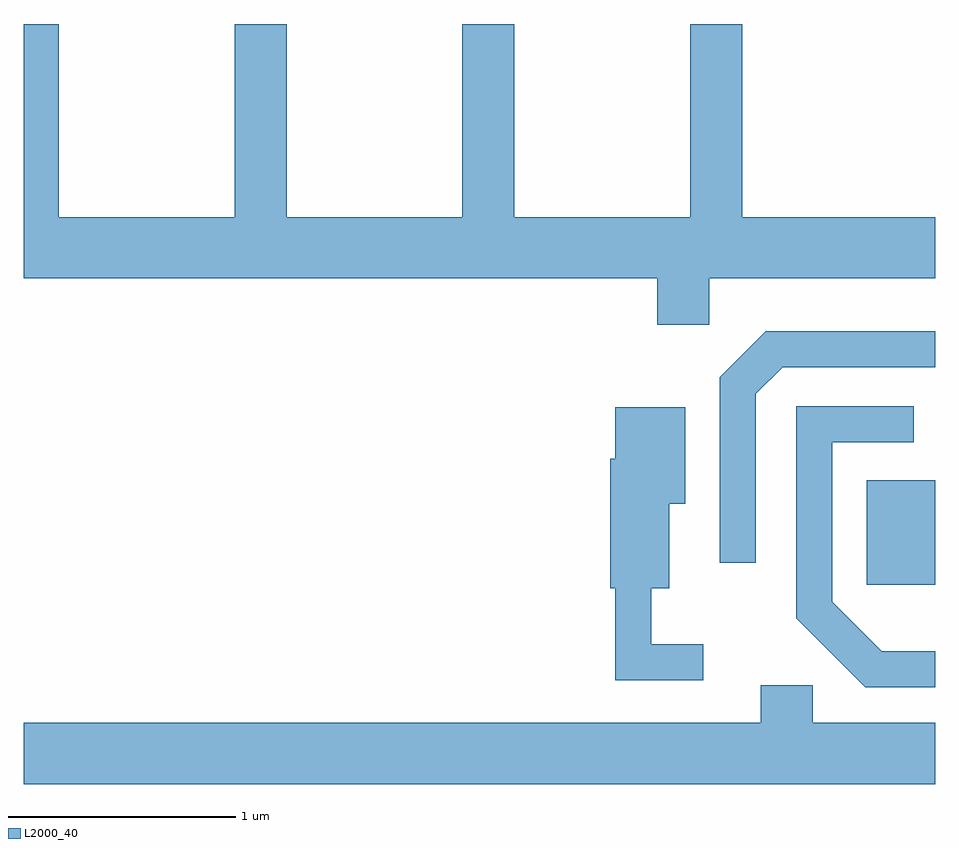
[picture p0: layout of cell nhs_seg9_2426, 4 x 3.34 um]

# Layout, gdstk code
import gdstk
lib = gdstk.Library(unit=1e-6, precision=1e-09)
def R(c, l, rs):  # rectangles x0, y0, x1, y1
    for r in rs: c.add(gdstk.rectangle(r[:2], r[2:], *l))
def P(c, l, *ps):  # polygons
    for p in ps: c.add(gdstk.Polygon(p, *l))
L2000_40 = (2000, 40)

nhs_seg9_2426 = lib.new_cell('nhs_seg9_2426')
R(nhs_seg9_2426, L2000_40, [(259.311,2045.971,259.611,2046.429)])
P(nhs_seg9_2426, L2000_40, [(258.619,2047.316),(259.611,2047.316),(259.611,2047.584),(258.764,2047.584),(258.764,2048.432),(258.536,2048.432),(258.536,2047.584),(257.764,2047.584),(257.764,2048.432),(257.536,2048.432),(257.536,2047.584),(256.764,2047.584),(256.764,2048.432),(256.536,2048.432),(256.536,2047.584),(255.764,2047.584),(255.764,2048.432),(255.611,2048.432),(255.611,2047.316),(258.391,2047.316),(258.391,2047.111),(258.619,2047.111)],
  [(258.824,2046.809),(258.942,2046.926),(259.611,2046.926),(259.611,2047.084),(258.868,2047.084),(258.666,2046.882),(258.666,2046.068),(258.824,2046.068)],
  [(259.611,2045.679),(259.377,2045.679),(259.159,2045.897),(259.159,2046.596),(259.517,2046.596),(259.517,2046.754),(259.001,2046.754),(259.001,2045.824),(259.304,2045.521),(259.611,2045.521)],
  [(258.593,2045.709),(258.364,2045.709),(258.364,2045.956),(258.444,2045.956),(258.444,2046.326),(258.514,2046.326),(258.514,2046.749),(258.206,2046.749),(258.206,2046.524),(258.186,2046.524),(258.186,2045.956),(258.206,2045.956),(258.206,2045.551),(258.593,2045.551)],
  [(259.611,2045.364),(259.074,2045.364),(259.074,2045.529),(258.846,2045.529),(258.846,2045.364),(255.611,2045.364),(255.611,2045.096),(259.611,2045.096)])

lib.write_gds('nhs_seg9_2426.gds')
